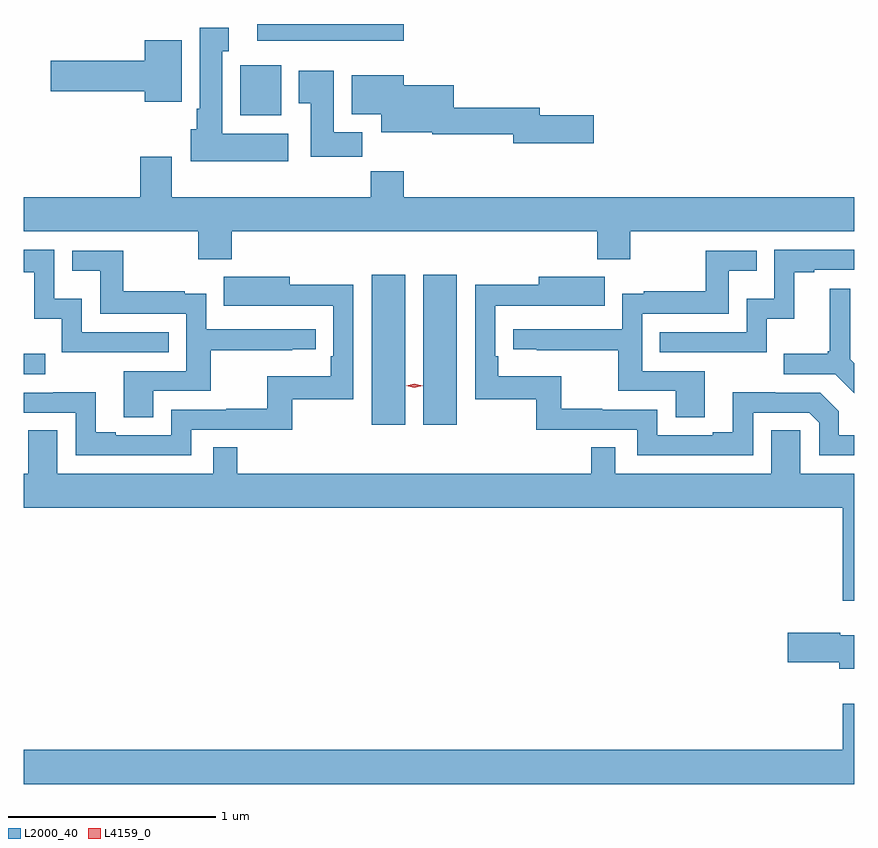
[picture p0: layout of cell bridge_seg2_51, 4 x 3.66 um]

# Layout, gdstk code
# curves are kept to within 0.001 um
import gdstk
lib = gdstk.Library(unit=1e-6, precision=1e-09)
def R(c, l, rs):  # rectangles x0, y0, x1, y1
    for r in rs: c.add(gdstk.rectangle(r[:2], r[2:], *l))
def P(c, l, *ps):  # polygons
    for p in ps: c.add(gdstk.Polygon(p, *l))
L2000_40 = (2000, 40)
L4159_0 = (4159, 0)

bridge_seg2_51 = lib.new_cell('bridge_seg2_51')
R(bridge_seg2_51, L2000_40, [(946.991,600.084,947.152,600.805), (947.24,600.084,947.401,600.805), (945.315,600.327,945.418,600.424), (946.358,601.574,946.555,601.816), (946.439,601.934,947.144,602.014)])
P(bridge_seg2_51, L2000_40, [(946.588,601.486),(946.27,601.486),(946.27,601.883),(946.303,601.883),(946.303,601.996),(946.163,601.996),(946.163,601.606),(946.148,601.606),(946.148,601.506),(946.118,601.506),(946.118,601.352),(946.588,601.352)],
  [(946.075,601.936),(945.896,601.936),(945.896,601.838),(945.444,601.838),(945.444,601.691),(945.896,601.691),(945.896,601.64),(946.075,601.64)],
  [(946.946,601.492),(946.807,601.492),(946.807,601.789),(946.64,601.789),(946.64,601.633),(946.697,601.633),(946.697,601.374),(946.946,601.374)],
  [(948.061,601.574),(947.8,601.574),(947.8,601.61),(947.386,601.61),(947.386,601.72),(947.146,601.72),(947.146,601.768),(946.895,601.768),(946.895,601.58),(947.036,601.58),(947.036,601.493),(947.282,601.493),(947.282,601.482),(947.672,601.482),(947.672,601.439),(948.061,601.439)],
  [(946.316,601.016),(948.077,601.016),(948.077,600.881),(948.237,600.881),(948.237,601.016),(949.315,601.016),(949.315,601.18),(947.144,601.18),(947.144,601.304),(946.987,601.304),(946.987,601.18),(946.027,601.18),(946.027,601.375),(945.875,601.375),(945.875,601.18),(945.315,601.18),(945.315,601.016),(946.156,601.016),(946.156,600.881),(946.316,600.881)],
  [(946.013,600.528),(945.594,600.528),(945.594,600.691),(945.462,600.691),(945.462,600.927),(945.315,600.927),(945.315,600.819),(945.365,600.819),(945.365,600.593),(945.498,600.593),(945.498,600.432),(946.013,600.432)],
  [(948.894,600.593),(949.027,600.593),(949.027,600.819),(949.123,600.819),(949.123,600.831),(949.315,600.831),(949.315,600.927),(948.93,600.927),(948.93,600.691),(948.798,600.691),(948.798,600.528),(948.379,600.528),(948.379,600.432),(948.894,600.432)],
  [(945.937,600.246),(946.214,600.246),(946.214,600.442),(946.607,600.442),(946.607,600.447),(946.72,600.447),(946.72,600.543),(946.194,600.543),(946.194,600.715),(946.091,600.715),(946.091,600.727),(945.793,600.727),(945.793,600.921),(945.547,600.921),(945.547,600.824),(945.682,600.824),(945.682,600.618),(946.098,600.618),(946.098,600.342),(945.797,600.342),(945.797,600.118),(945.937,600.118)],
  [(948.595,600.342),(948.294,600.342),(948.294,600.618),(948.711,600.618),(948.711,600.824),(948.845,600.824),(948.845,600.921),(948.6,600.921),(948.6,600.727),(948.301,600.727),(948.301,600.715),(948.198,600.715),(948.198,600.543),(947.673,600.543),(947.673,600.447),(947.785,600.447),(947.785,600.442),(948.178,600.442),(948.178,600.246),(948.455,600.246),(948.455,600.118),(948.595,600.118)],
  [(948.828,600.141),(949.098,600.141),(949.146,600.093),(949.146,599.937),(949.315,599.937),(949.315,600.033),(949.242,600.033),(949.242,600.147),(949.152,600.237),(948.936,600.237),(948.936,600.239),(948.731,600.239),(948.731,600.046),(948.635,600.046),(948.635,600.033),(948.366,600.033),(948.366,600.156),(948.101,600.156),(948.101,600.161),(947.905,600.161),(947.905,600.316),(947.6,600.316),(947.6,600.412),(947.586,600.412),(947.586,600.657),(948.113,600.656),(948.113,600.796),(947.795,600.796),(947.795,600.758),(947.49,600.758),(947.49,600.207),(947.784,600.207),(947.784,600.06),(948.27,600.06),(948.27,599.937),(948.828,599.937)],
  [(946.122,600.06),(946.609,600.06),(946.609,600.207),(946.902,600.207),(946.902,600.758),(946.597,600.758),(946.597,600.796),(946.279,600.796),(946.279,600.656),(946.493,600.656),(946.493,600.657),(946.806,600.657),(946.806,600.412),(946.793,600.412),(946.793,600.316),(946.488,600.316),(946.488,600.161),(946.291,600.161),(946.291,600.156),(946.026,600.156),(946.026,600.033),(945.757,600.033),(945.757,600.046),(945.661,600.046),(945.661,600.239),(945.456,600.239),(945.456,600.237),(945.315,600.237),(945.315,600.141),(945.564,600.141),(945.564,599.937),(946.122,599.937)],
  [(949.315,600.38),(949.296,600.399),(949.296,600.739),(949.199,600.739),(949.199,600.436),(949.188,600.436),(949.188,600.424),(948.975,600.424),(948.975,600.327),(949.224,600.327),(949.315,600.236)],
  [(949.315,599.848),(949.056,599.848),(949.056,600.056),(948.917,600.056),(948.917,599.848),(948.165,599.848),(948.165,599.975),(948.049,599.975),(948.049,599.848),(946.343,599.848),(946.343,599.975),(946.227,599.975),(946.227,599.848),(945.475,599.848),(945.475,600.056),(945.336,600.056),(945.336,599.848),(945.315,599.848),(945.315,599.684),(949.26,599.684),(949.26,599.235),(949.315,599.235)],
  [(949.315,599.068),(949.248,599.068),(949.248,599.081),(948.996,599.081),(948.996,598.939),(949.244,598.939),(949.244,598.907),(949.315,598.907)],
  [(949.315,598.738),(949.26,598.738),(949.26,598.516),(945.315,598.516),(945.315,598.352),(949.315,598.352)])
P(bridge_seg2_51, L4159_0, [(947.196,600.261),(947.156,600.271),(947.156,600.271),(947.156,600.271),(947.196,600.281),(947.236,600.271),(947.236,600.271),(947.236,600.271)])

lib.write_gds('bridge_seg2_51.gds')
